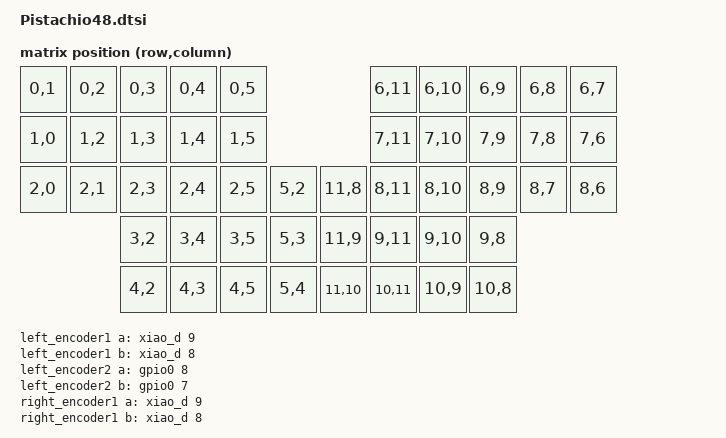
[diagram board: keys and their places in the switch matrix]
#include <dt-bindings/zmk/matrix_transform.h>

/ {
    chosen {
        zmk,kscan = &kscan0;
        zmk,matrix_transform = &default_transform;
    };

    kscan0: kscan {
        compatible = "zmk,kscan-gpio-charlieplex";
        wakeup-source;
        //diode-direction = "row2col";
        interrupt-gpios= <&xiao_d 9 (GPIO_ACTIVE_HIGH | GPIO_PULL_DOWN)>;
        gpios
            = <&xiao_d 0  GPIO_ACTIVE_HIGH> 
            , <&xiao_d 1  GPIO_ACTIVE_HIGH> 
            , <&xiao_d 2  GPIO_ACTIVE_HIGH> 
            , <&xiao_d 3  GPIO_ACTIVE_HIGH> 
            , <&xiao_d 6  GPIO_ACTIVE_HIGH> 
            , <&xiao_d 10 GPIO_ACTIVE_HIGH> 
            ; // addressable space is 6x5
    };

    default_transform: keymap_transform {
        compatible = "zmk,matrix-transform";
        columns = <12>;
        rows = <6>;
        map = <
        /*
            RC(0, 1) RC(0, 2) RC(0, 3) RC(0, 4) RC(0, 5)	                   RC(6, 7)  RC(6, 8)  RC(6, 9)  RC(6, 10)  RC(6, 11)
            RC(1, 0) RC(1, 2) RC(1, 3) RC(1, 4) RC(1, 5)                       RC(7, 6)	 RC(7, 8)  RC(7, 9)  RC(7, 10)  RC(7, 11)
            RC(2, 0) RC(2, 1) RC(2, 3) RC(2, 4) RC(2, 5) RC(5, 2)    RC(11, 8) RC(8, 6)  RC(8, 7)  RC(8, 9)  RC(8, 10)  RC(8, 11)
                              RC(3, 2) RC(3, 4) RC(3, 5) RC(5, 3)    RC(11, 7) RC(9, 6)  RC(9, 7)  RC(9, 8)	 
                              RC(4, 2) RC(4, 3)	RC(4, 5) RC(5, 4)    RC(11, 6) RC(10, 6) RC(10, 7) RC(10, 8)
        */
            RC(0, 1) RC(0, 2) RC(0, 3) RC(0, 4) RC(0, 5)	                    RC(6, 11)  RC(6, 10)  RC(6, 9)  RC(6, 8)  RC(6, 7)
            RC(1, 0) RC(1, 2) RC(1, 3) RC(1, 4) RC(1, 5)                        RC(7, 11)  RC(7, 10)  RC(7, 9)  RC(7, 8)  RC(7, 6)
            RC(2, 0) RC(2, 1) RC(2, 3) RC(2, 4) RC(2, 5) RC(5, 2)    RC(11, 8)  RC(8, 11)  RC(8, 10)  RC(8, 9)  RC(8, 7)  RC(8, 6)
                              RC(3, 2) RC(3, 4) RC(3, 5) RC(5, 3)    RC(11, 9)  RC(9, 11)  RC(9, 10)  RC(9, 8)	 
                              RC(4, 2) RC(4, 3)	RC(4, 5) RC(5, 4)    RC(11, 10) RC(10,11)  RC(10, 9)  RC(10, 8)
        >;
    };

    left_encoder1: encoder_left1 {
        compatible = "alps,ec11";
        a-gpios = <&xiao_d 9 (GPIO_ACTIVE_HIGH | GPIO_PULL_UP)>;
        b-gpios = <&xiao_d 8 (GPIO_ACTIVE_HIGH | GPIO_PULL_UP)>;
        steps = <24>;
        status = "disabled";
    };

    left_encoder2: encoder_left2 {
        compatible = "alps,ec11";
        a-gpios = <&gpio0 8 (GPIO_ACTIVE_HIGH | GPIO_PULL_UP)>;
        b-gpios = <&gpio0 7 (GPIO_ACTIVE_HIGH | GPIO_PULL_UP)>;
        steps = <24>;
        status = "disabled";
    };

    right_encoder1: encoder_right1 {
        compatible = "alps,ec11";
        a-gpios = <&xiao_d 9 (GPIO_ACTIVE_HIGH | GPIO_PULL_UP)>;
        b-gpios = <&xiao_d 8 (GPIO_ACTIVE_HIGH | GPIO_PULL_UP)>;
        steps = <24>;
        status = "disabled";
    };

    right_encoder2: encoder_right2 {
        compatible = "alps,ec11";
        a-gpios = <&gpio0 8  (GPIO_ACTIVE_HIGH | GPIO_PULL_UP)>;
        b-gpios = <&gpio0 7  (GPIO_ACTIVE_HIGH | GPIO_PULL_UP)>;
        steps = <24>;
        status = "disabled";
    };

    sensors: sensors {
        compatible = "zmk,keymap-sensors";
        sensors = <&right_encoder1 &right_encoder2 &left_encoder1 &left_encoder2>;
        triggers-per-rotation = <20>;
    };
};
